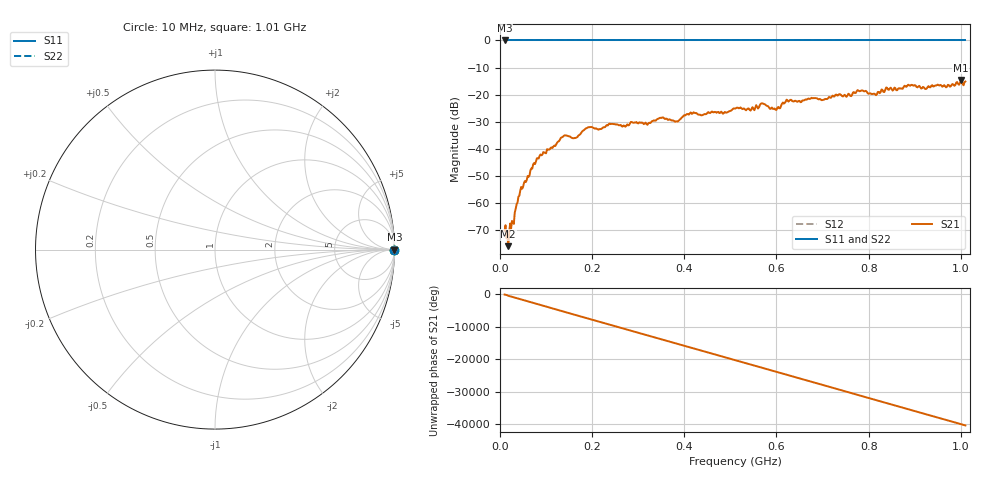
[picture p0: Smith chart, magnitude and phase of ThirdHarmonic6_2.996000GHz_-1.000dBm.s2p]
! 8/17/2025 8:33:16 AM
! C:\ANRITSUVNA\TEMP\TEMP.S2P
! CHANNEL.1
! TR.MEASUREMENT
! RAW.DATA
! RF.CORRECTION.OFF
! AVERAGING.OFF
! IF.BANDWIDTH: 5KHZ
! SWEEPTYPE:  FREQ.SWEEP(Linear)
! Reference Plane Port Info
! PORT:  PORT1  PORT2
! DISTANCE:  0  m  0  m
! TIME:  0  s  0  s
! PHASE.OFFSET:  0  deg.  0  deg.
! LOSS:  0  dB  0  dB
! REF.LOSS:  0  dB  0  dB
! REF.FREQ:  0  Hz  0  Hz
! Power Info
! POWER:  -20  dBm  -20  dBm
! EFF.POWER:  -20  dBm  -20  dBm
! SOURCE.ATTEN:  0  dB  0  dB
! TEST.ATTEN:  0  dB  0  dB
# GHZ S RI R 50.0
! FREQ.GHZ  S11RE  S11IM  S21RE  S21IM  S12RE  S12IM  S22RE  S22IM
!; PortSelection: Port_12
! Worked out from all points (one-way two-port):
!   501 points, 10 MHz to 1.01 GHz, reference 50 ohm
!   highest |S21| = -14.62 dB at 1 GHz (marker M1); lowest = -75.9 dB at 18 MHz (marker M2)
!   lowest |S11| = 0.0 dB at 10 MHz (marker M3)
!   |S11| at or under -10 dB: nowhere
!   |S22| runs from 0.0 to 0.0 dB; largest |S21 - S12| = 1.2
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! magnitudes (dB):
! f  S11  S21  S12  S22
! 10 MHz  0.0  -70.2  0.0  0.0
! 18 MHz  0.0  -75.9  0.0  0.0
! 44 MHz  0.0  -55.4  0.0  0.0
! 84 MHz  0.0  -43.6  0.0  0.0
! 136 MHz  0.0  -35.6  0.0  0.0
! 162 MHz  0.0  -36.0  0.0  0.0
! 178 MHz  0.0  -33.6  0.0  0.0
! 194 MHz  0.0  -32.0  0.0  0.0
! 344 MHz  0.0  -28.9  0.0  0.0
! 384 MHz  0.0  -29.8  0.0  0.0
! 416 MHz  0.0  -27.1  0.0  0.0
! 510 MHz  0.0  -25.1  0.0  0.0
! 548 MHz  0.0  -24.6  0.0  0.0
! 570 MHz  0.0  -23.2  0.0  0.0
! 596 MHz  0.0  -25.1  0.0  0.0
! 626 MHz  0.0  -22.5  0.0  0.0
! 678 MHz  0.0  -21.3  0.0  0.0
! 780 MHz  0.0  -18.7  0.0  0.0
! 814 MHz  0.0  -19.8  0.0  0.0
! 844 MHz  0.0  -18.2  0.0  0.0
! 1 GHz  0.0  -14.6  0.0  0.0
! 1.01 GHz  0.0  -15.1  0.0  0.0
